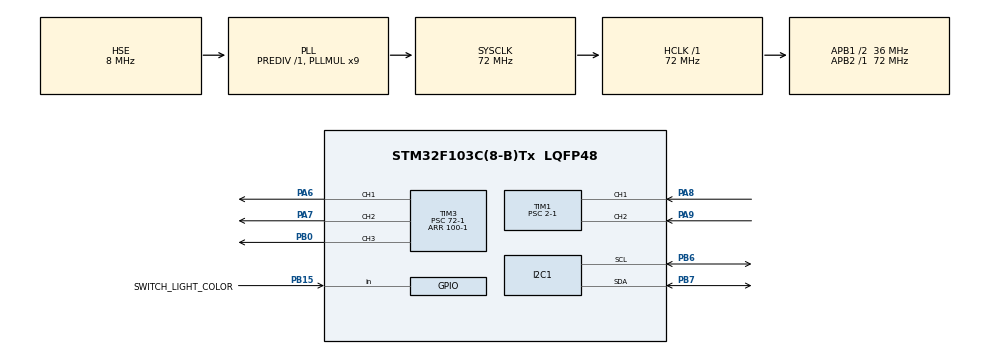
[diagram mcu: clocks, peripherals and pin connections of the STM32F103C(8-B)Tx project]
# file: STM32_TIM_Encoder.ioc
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I2C1.I2C_Mode=I2C_Fast
Mcu.Family=STM32F1
Mcu.Name=STM32F103C(8-B)Tx
Mcu.Package=LQFP48
NVIC.PriorityGroup=NVIC_PRIORITYGROUP_4
PA13.Mode=Serial_Wire
PA13.Signal=SYS_JTMS-SWDIO
PA14.Mode=Serial_Wire
PA14.Signal=SYS_JTCK-SWCLK
PA6.GPIO_Speed=GPIO_SPEED_FREQ_HIGH
PA6.Signal=S_TIM3_CH1
PA7.GPIO_Speed=GPIO_SPEED_FREQ_HIGH
PA7.Signal=S_TIM3_CH2
PA8.Signal=S_TIM1_CH1
PA9.Signal=S_TIM1_CH2
PB0.GPIO_Speed=GPIO_SPEED_FREQ_HIGH
PB0.Signal=S_TIM3_CH3
PB15.GPIO_Label=SWITCH_LIGHT_COLOR
PB15.GPIO_PuPd=GPIO_PULLUP
PB15.Signal=GPIO_Input
PB6.Mode=I2C
PB6.Signal=I2C1_SCL
PB7.Mode=I2C
PB7.Signal=I2C1_SDA
PD0-OSC_IN.Mode=HSE-External-Oscillator
PD0-OSC_IN.Signal=RCC_OSC_IN
PD1-OSC_OUT.Mode=HSE-External-Oscillator
PD1-OSC_OUT.Signal=RCC_OSC_OUT
ProjectManager.HeapSize=0x200
ProjectManager.StackSize=0x400
ProjectManager.TargetToolchain=STM32CubeIDE
RCC.AHBFreq_Value=72000000
RCC.APB1CLKDivider=RCC_HCLK_DIV2
RCC.APB1Freq_Value=36000000
RCC.APB1TimFreq_Value=72000000
RCC.APB2Freq_Value=72000000
RCC.APB2TimFreq_Value=72000000
RCC.HCLKFreq_Value=72000000
RCC.PLLMUL=RCC_PLL_MUL9
RCC.PLLSourceVirtual=RCC_PLLSOURCE_HSE
RCC.SYSCLKFreq_VALUE=72000000
RCC.SYSCLKSource=RCC_SYSCLKSOURCE_PLLCLK
RCC.USBFreq_Value=72000000
SH.S_TIM1_CH1.0=TIM1_CH1,Encoder_Interface
SH.S_TIM1_CH2.0=TIM1_CH2,Encoder_Interface
SH.S_TIM3_CH1.0=TIM3_CH1,PWM Generation1 CH1
SH.S_TIM3_CH2.0=TIM3_CH2,PWM Generation2 CH2
SH.S_TIM3_CH3.0=TIM3_CH3,PWM Generation3 CH3
TIM1.IC1Filter=15
TIM1.IC2Filter=15
TIM1.IC2Polarity=TIM_ICPOLARITY_FALLING
TIM1.Period=100-1
TIM1.Prescaler=2-1
TIM3.Channel-PWM\ Generation1\ CH1=TIM_CHANNEL_1
TIM3.Channel-PWM\ Generation2\ CH2=TIM_CHANNEL_2
TIM3.Channel-PWM\ Generation3\ CH3=TIM_CHANNEL_3
TIM3.Period=100-1
TIM3.Prescaler=72-1
VP_TIM3_VS_ClockSourceINT.Mode=Internal
board=custom

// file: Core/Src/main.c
/* USER CODE BEGIN Header */
/**
  ******************************************************************************
  * @file           : main.c
  * @brief          : Main program body
  ******************************************************************************
  * @attention
  *
  * Copyright (c) 2025 STMicroelectronics.
  * All rights reserved.
  *
  * This software is licensed under terms that can be found in the LICENSE file
  * in the root directory of this software component.
  * If no LICENSE file comes with this software, it is provided AS-IS.
  *
  ******************************************************************************
  */
/* USER CODE END Header */
#include "main.h"
#include "i2c.h"
#include "tim.h"
#include "gpio.h"

/* USER CODE BEGIN Includes */
#include "oled.h"
#include "string.h"
#include "stdio.h"
/* USER CODE END Includes */

void SystemClock_Config(void);

int main(void)
{

  /* USER CODE BEGIN 1 */
    int count=0;;
    char message[20];\

    int colorIndex=0;
    uint32_t lightColor[3]={TIM_CHANNEL_1,TIM_CHANNEL_2,TIM_CHANNEL_3};
  /* USER CODE END 1 */

  /* MCU Configuration--------------------------------------------------------*/

  /* Reset of all peripherals, Initializes the Flash interface and the Systick. */
  HAL_Init();

  /* Configure the system clock */
  SystemClock_Config();

  /* Initialize all configured peripherals */
  MX_GPIO_Init();
  MX_I2C1_Init();
  MX_TIM1_Init();
  MX_TIM3_Init();
  /* USER CODE BEGIN 2 */
    HAL_Delay(20);
    OLED_Init();
    HAL_Delay(20);
    OLED_Startup();

    HAL_TIM_Encoder_Start(&htim1,TIM_CHANNEL_ALL);
    HAL_TIM_Base_Start(&htim3);
    HAL_TIM_PWM_Start(&htim3,lightColor[colorIndex]);
  /* USER CODE END 2 */

  /* Infinite loop */
  /* USER CODE BEGIN WHILE */
  while (1)
  {

      //负责控制小灯明暗
      OLED_NewFrame();
      count= __HAL_TIM_GET_COUNTER(&htim1);
      sprintf(message,"counter:%d",count);
      OLED_PrintASCIIString(0,0,message,&afont16x8,OLED_COLOR_NORMAL);
      //负责切换小灯颜色
      if (HAL_GPIO_ReadPin(SWITCH_LIGHT_COLOR_GPIO_Port,SWITCH_LIGHT_COLOR_Pin)==GPIO_PIN_RESET)
      {
          HAL_Delay(10);
          if (HAL_GPIO_ReadPin(SWITCH_LIGHT_COLOR_GPIO_Port,SWITCH_LIGHT_COLOR_Pin)==GPIO_PIN_RESET)
          {

              HAL_TIM_PWM_Stop(&htim3,lightColor[colorIndex]);
              colorIndex=(colorIndex+1)%3;
              HAL_TIM_PWM_Start(&htim3,lightColor[colorIndex]);
              while (HAL_GPIO_ReadPin(SWITCH_LIGHT_COLOR_GPIO_Port,SWITCH_LIGHT_COLOR_Pin)==GPIO_PIN_RESET);
          }
      }
      __HAL_TIM_SET_COMPARE(&htim3,lightColor[colorIndex],count);

      OLED_ShowFrame();

    /* USER CODE END WHILE */

  }
}

void SystemClock_Config(void)
{
  RCC_OscInitTypeDef RCC_OscInitStruct = {0};
  RCC_ClkInitTypeDef RCC_ClkInitStruct = {0};

  /** Initializes the RCC Oscillators according to the specified parameters
  * in the RCC_OscInitTypeDef structure.
  */
  RCC_OscInitStruct.OscillatorType = RCC_OSCILLATORTYPE_HSE;
  RCC_OscInitStruct.HSEState = RCC_HSE_ON;
  RCC_OscInitStruct.HSEPredivValue = RCC_HSE_PREDIV_DIV1;
  RCC_OscInitStruct.HSIState = RCC_HSI_ON;
  RCC_OscInitStruct.PLL.PLLState = RCC_PLL_ON;
  RCC_OscInitStruct.PLL.PLLSource = RCC_PLLSOURCE_HSE;
  RCC_OscInitStruct.PLL.PLLMUL = RCC_PLL_MUL9;
  if (HAL_RCC_OscConfig(&RCC_OscInitStruct) != HAL_OK)
  {
    Error_Handler();
  }

  /** Initializes the CPU, AHB and APB buses clocks
  */
  RCC_ClkInitStruct.ClockType = RCC_CLOCKTYPE_HCLK|RCC_CLOCKTYPE_SYSCLK
                              |RCC_CLOCKTYPE_PCLK1|RCC_CLOCKTYPE_PCLK2;
  RCC_ClkInitStruct.SYSCLKSource = RCC_SYSCLKSOURCE_PLLCLK;
  RCC_ClkInitStruct.AHBCLKDivider = RCC_SYSCLK_DIV1;
  RCC_ClkInitStruct.APB1CLKDivider = RCC_HCLK_DIV2;
  RCC_ClkInitStruct.APB2CLKDivider = RCC_HCLK_DIV1;

  if (HAL_RCC_ClockConfig(&RCC_ClkInitStruct, FLASH_LATENCY_2) != HAL_OK)
  {
    Error_Handler();
  }
}

void Error_Handler(void)
{
  __disable_irq();
  while (1)
  {
  }
}
